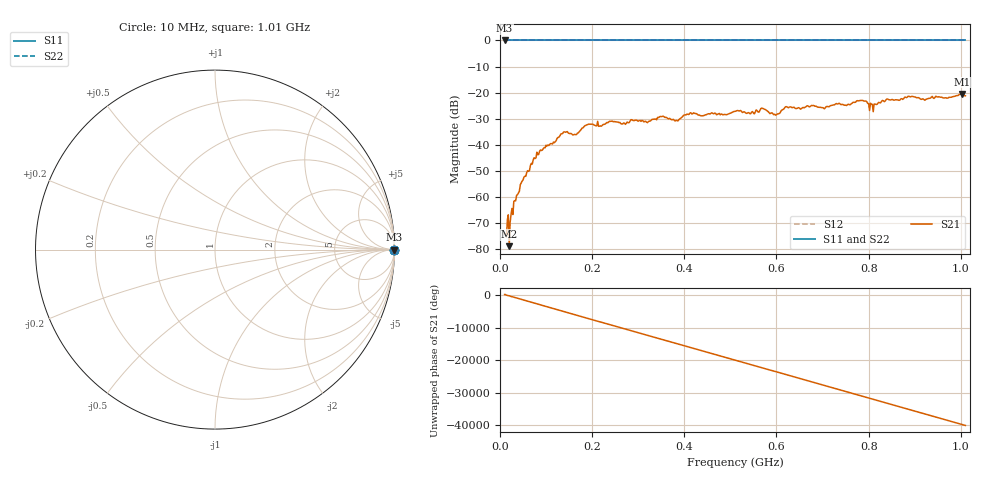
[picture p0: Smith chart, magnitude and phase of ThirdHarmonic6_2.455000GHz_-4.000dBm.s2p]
! 8/17/2025 4:24:39 AM
! C:\ANRITSUVNA\TEMP\TEMP.S2P
! CHANNEL.1
! TR.MEASUREMENT
! RAW.DATA
! RF.CORRECTION.OFF
! AVERAGING.OFF
! IF.BANDWIDTH: 5KHZ
! SWEEPTYPE:  FREQ.SWEEP(Linear)
! Reference Plane Port Info
! PORT:  PORT1  PORT2
! DISTANCE:  0  m  0  m
! TIME:  0  s  0  s
! PHASE.OFFSET:  0  deg.  0  deg.
! LOSS:  0  dB  0  dB
! REF.LOSS:  0  dB  0  dB
! REF.FREQ:  0  Hz  0  Hz
! Power Info
! POWER:  -20  dBm  -20  dBm
! EFF.POWER:  -20  dBm  -20  dBm
! SOURCE.ATTEN:  0  dB  0  dB
! TEST.ATTEN:  0  dB  0  dB
# GHZ S RI R 50.0
! FREQ.GHZ  S11RE  S11IM  S21RE  S21IM  S12RE  S12IM  S22RE  S22IM
!; PortSelection: Port_12
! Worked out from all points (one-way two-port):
!   501 points, 10 MHz to 1.01 GHz, reference 50 ohm
!   highest |S21| = -20.57 dB at 1.002 GHz (marker M1); lowest = -78.9 dB at 20 MHz (marker M2)
!   lowest |S11| = 0.0 dB at 10 MHz (marker M3)
!   |S11| at or under -10 dB: nowhere
!   |S22| runs from 0.0 to 0.0 dB; largest |S21 - S12| = 1.1
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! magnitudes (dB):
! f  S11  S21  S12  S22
! 10 MHz  0.0  -74.1  0.0  0.0
! 20 MHz  0.0  -78.9  0.0  0.0
! 24 MHz  0.0  -66.8  0.0  0.0
! 34 MHz  0.0  -61.5  0.0  0.0
! 48 MHz  0.0  -54.0  0.0  0.0
! 76 MHz  0.0  -45.3  0.0  0.0
! 136 MHz  0.0  -35.7  0.0  0.0
! 162 MHz  0.0  -36.0  0.0  0.0
! 178 MHz  0.0  -33.6  0.0  0.0
! 344 MHz  0.0  -29.6  0.0  0.0
! 382 MHz  0.0  -30.7  0.0  0.0
! 416 MHz  0.0  -28.2  0.0  0.0
! 510 MHz  0.0  -27.2  0.0  0.0
! 570 MHz  0.0  -26.1  0.0  0.0
! 598 MHz  0.0  -28.7  0.0  0.0
! 622 MHz  0.0  -25.4  0.0  0.0
! 678 MHz  0.0  -25.0  0.0  0.0
! 784 MHz  0.0  -23.0  0.0  0.0
! 806 MHz  0.0  -24.5  0.0  0.0
! 844 MHz  0.0  -22.7  0.0  0.0
! 1.002 GHz  0.0  -20.6  0.0  0.0
! 1.01 GHz  0.0  -21.2  0.0  0.0
